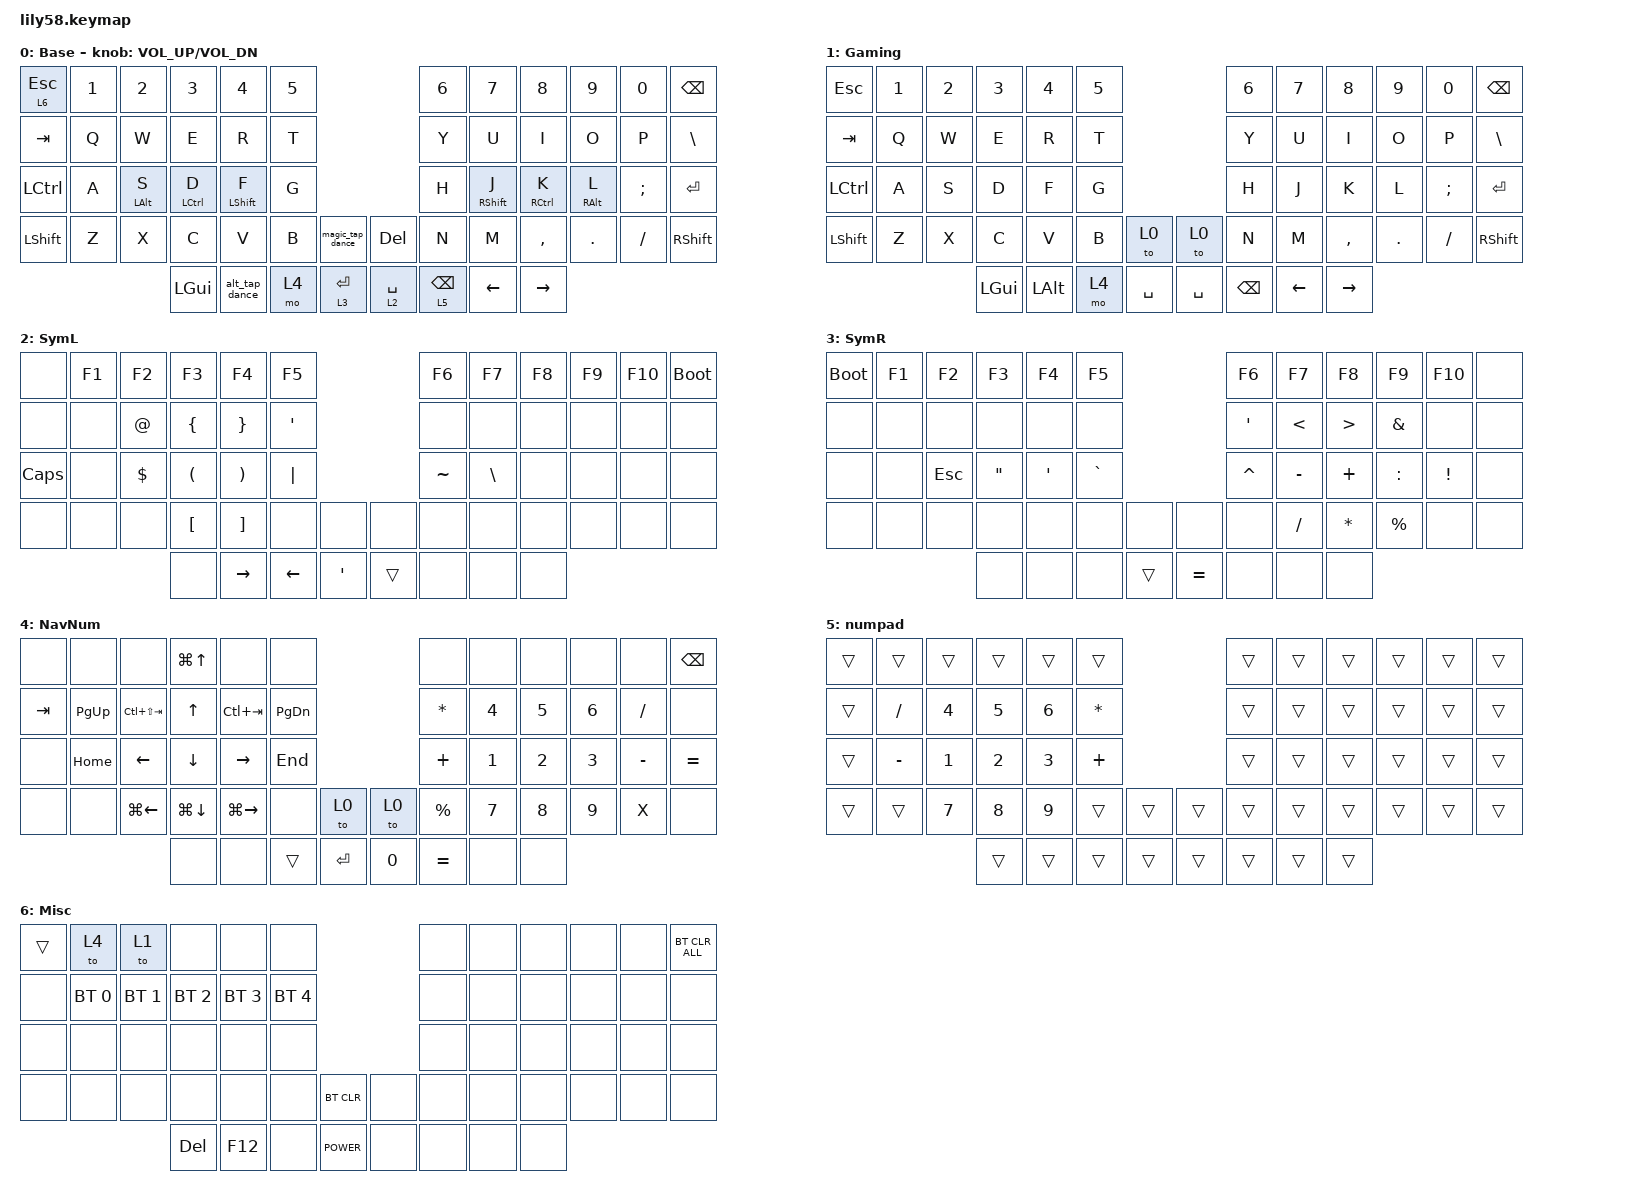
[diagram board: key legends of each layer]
/*
 * Copyright (c) 2020 The ZMK Contributors
 *
 * SPDX-License-Identifier: MIT
 */

#include <behaviors.dtsi>
#include <dt-bindings/zmk/bt.h>
#include <dt-bindings/zmk/keys.h>

/ {
    behaviors {
        home_row_layer_left: home_row_layer_left {
            compatible = "zmk,behavior-hold-tap";
            label = "HOME_ROW_LAYER_LEFT";
            bindings = <&mo>, <&kp>;

            #binding-cells = <2>;
            tapping-term-ms = <200>;
            hold-trigger-key-positions = <0 1 2 3 4 5 12 13 14 15 16 17 24 25 26 27 28 29 36 37 38 39 40 41 42 50 51 52 53 31 33 54 55 56 57 34 30>;
            flavor = "balanced";
        };

        home_row_layer_right: home_row_layer_right {
            compatible = "zmk,behavior-hold-tap";
            label = "HOME_ROW_LAYER_RIGHT";
            bindings = <&mo>, <&kp>;

            #binding-cells = <2>;
            tapping-term-ms = <200>;
            flavor = "balanced";
            hold-trigger-key-positions = <6 7 9 10 11 18 19 20 21 22 23 30 31 32 33 34 35 43 44 45 46 47 48 49 54 55 56 57 8 28 26 53 50 52 51 25 29>;
        };

        thumb_layer: thumb_layer {
            compatible = "zmk,behavior-hold-tap";
            label = "THUMB_LAYER";
            bindings = <&mo>, <&kp>;

            #binding-cells = <2>;
            tapping-term-ms = <200>;
            quick-tap-ms = <200>;
            flavor = "balanced";
        };

        magic_tap_dance: magic_tap_dance {
            compatible = "zmk,behavior-tap-dance";
            label = "MAGIC_TAP_DANCE";
            #binding-cells = <0>;
            tapping-term-ms = <200>;
            bindings = <&kp LS(LA(LC(F11)))>, <&kp LS(LA(LC(F12)))>;
        };

        home_row_mod_left: home_row_mod_left {
            compatible = "zmk,behavior-hold-tap";
            label = "HOME_ROW_MOD_LEFT";
            bindings = <&kp>, <&kp>;

            #binding-cells = <2>;
            tapping-term-ms = <200>;
            flavor = "balanced";
            hold-trigger-key-positions = <6 7 8 9 10 11 18 19 20 21 22 23 30 31 32 33 34 35 44 45 46 47 48 49 54 55 56 57 43 26 27 28>;
        };

        home_row_mod_right: home_row_mod_right {
            compatible = "zmk,behavior-hold-tap";
            label = "HOME_ROW_MOD_RIGHT";
            bindings = <&kp>, <&kp>;

            #binding-cells = <2>;
            tapping-term-ms = <200>;
            flavor = "balanced";
            hold-trigger-key-positions = <0 1 2 3 4 5 12 13 14 15 16 17 24 25 26 27 28 29 36 37 38 39 40 41 42 50 51 52 53 32 33 31>;
        };

        layer_mod: layer_mod {
            compatible = "zmk,behavior-hold-tap";
            label = "LAYER_MOD";
            bindings = <&mo>, <&kp>;

            #binding-cells = <2>;
            tapping-term-ms = <200>;
            flavor = "tap-preferred";
        };

        alt_tap_dance: alt_tap_dance {
            compatible = "zmk,behavior-tap-dance";
            label = "ALT_TAP_DANCE";
            #binding-cells = <0>;
            bindings = <&kp LEFT_ALT>, <&kp RIGHT_ALT>;
        };
    };

    combos {
        compatible = "zmk,combos";

        jk {
            bindings = <&kp BACKSLASH>;
            key-positions = <31 32>;
            layers = <0>;
        };

        df {
            bindings = <&kp TAB>;
            key-positions = <28 27>;
            layers = <0>;
        };

        kl {
            bindings = <&kp UNDER>;
            key-positions = <32 33>;
            layers = <0>;
        };

        sd {
            bindings = <&kp LS(LA(LC(F10)))>;
            key-positions = <26 27>;
            layers = <0>;
        };

        fj {
            bindings = <&kp SQT>;
            key-positions = <28 31>;
            layers = <0>;
        };

        hj {
            bindings = <&kp LS(LA(LC(F9)))>;
            key-positions = <30 31>;
            layers = <0>;
        };

        fg {
            bindings = <&kp ESCAPE>;
            key-positions = <29 28>;
            layers = <0>;
        };

        dk {
            bindings = <&kp DOUBLE_QUOTES>;
            key-positions = <27 32>;
        };
    };

    keymap {
        compatible = "zmk,keymap";

        default_layer {
            // ------------------------------------------------------------------------------------------------------------
            // |  ESC  |  1  |  2  |  3   |  4   |  5   |                   |  6   |  7    |  8    |  9   |   0   |   `   |
            // |  TAB  |  Q  |  W  |  E   |  R   |  T   |                   |  Y   |  U    |  I    |  O   |   P   |   -   |
            // |  CTRL |  A  |  S  |  D   |  F   |  G   |                   |  H   |  J    |  K    |  L   |   ;   |   '   |
            // | SHIFT |  Z  |  X  |  C   |  V   |  B   |   "["  |  |  "]"  |  N   |  M    |  ,    |  .   |   /   | SHIFT |
            //                     | ALT  | GUI  | LOWER|  SPACE |  | ENTER | RAISE| BSPC  | GUI   |

            display-name = "Base";
            bindings = <
&layer_mod 6 ESCAPE  &kp N1  &kp N2                         &kp N3                             &kp N4                           &kp N5                                                &kp N6                    &kp N7                             &kp N8                               &kp N9                           &kp N0    &kp BACKSPACE
&kp TAB              &kp Q   &kp W                          &kp E                              &kp R                            &kp T                                                 &kp Y                     &kp U                              &kp I                                &kp O                            &kp P     &kp BACKSLASH
&kp LCTRL            &kp A   &home_row_mod_left LEFT_ALT S  &home_row_mod_left LEFT_CONTROL D  &home_row_mod_left LEFT_SHIFT F  &kp G                                                 &kp H                     &home_row_mod_right RIGHT_SHIFT J  &home_row_mod_right RIGHT_CONTROL K  &home_row_mod_right RIGHT_ALT L  &kp SEMI  &kp ENTER
&kp LSHFT            &kp Z   &kp X                          &kp C                              &kp V                            &kp B   &magic_tap_dance        &kp DELETE            &kp N                     &kp M                              &kp COMMA                            &kp DOT                          &kp FSLH  &kp RSHFT
                                                            &kp LEFT_GUI                       &alt_tap_dance                   &mo 4   &thumb_layer 3 ENTER    &thumb_layer 2 SPACE  &thumb_layer 5 BACKSPACE  &kp LEFT_ARROW                     &kp RIGHT_ARROW
            >;

            sensor-bindings = <&inc_dec_kp C_VOL_UP C_VOL_DN>;
        };

        gaming {
            bindings = <
&kp ESC    &kp N1  &kp N2  &kp N3    &kp N4    &kp N5                          &kp N6    &kp N7          &kp N8           &kp N9   &kp N0    &kp BSPC
&kp TAB    &kp Q   &kp W   &kp E     &kp R     &kp T                           &kp Y     &kp U           &kp I            &kp O    &kp P     &kp BSLH
&kp LCTRL  &kp A   &kp S   &kp D     &kp F     &kp G                           &kp H     &kp J           &kp K            &kp L    &kp SEMI  &kp ENTER
&kp LSHFT  &kp Z   &kp X   &kp C     &kp V     &kp B   &to 0        &to 0      &kp N     &kp M           &kp COMMA        &kp DOT  &kp FSLH  &kp RSHFT
                           &kp LGUI  &kp LALT  &mo 4   &kp SPACE    &kp SPACE  &kp BSPC  &kp LEFT_ARROW  &kp RIGHT_ARROW
            >;

            label = "Gaming";
        };

        symbols_left {
            bindings = <
&none         &kp F1  &kp F2       &kp F3                &kp F4                 &kp F5                                        &kp F6     &kp F7         &kp F8  &kp F9  &kp F10  &bootloader
&none         &none   &kp AT_SIGN  &kp LEFT_BRACE        &kp RIGHT_BRACE        &kp SINGLE_QUOTE                              &none      &none          &none   &none   &none    &none
&kp CAPSLOCK  &none   &kp DOLLAR   &kp LEFT_PARENTHESIS  &kp RIGHT_PARENTHESIS  &kp PIPE                                      &kp TILDE  &kp BACKSLASH  &none   &none   &none    &none
&none         &none   &none        &kp LEFT_BRACKET      &kp RIGHT_BRACKET      &none             &none               &none   &none      &none          &none   &none   &none    &none
                                   &none                 &kp RIGHT              &kp LEFT_ARROW    &kp SINGLE_QUOTE    &trans  &none      &none          &none
            >;

            label = "SymL";
        };

        symbols_right {
            bindings = <
&bootloader  &kp F1  &kp F2      &kp F3             &kp F4            &kp F5                          &kp F6            &kp F7         &kp F8            &kp F9         &kp F10          &none
&none        &none   &none       &none              &none             &none                           &kp SINGLE_QUOTE  &kp LESS_THAN  &kp GREATER_THAN  &kp AMPERSAND  &none            &none
&none        &none   &kp ESCAPE  &kp DOUBLE_QUOTES  &kp SINGLE_QUOTE  &kp GRAVE                       &kp CARET         &kp MINUS      &kp PLUS          &kp COLON      &kp EXCLAMATION  &none
&none        &none   &none       &none              &none             &none      &none     &none      &none             &kp SLASH      &kp ASTERISK      &kp PERCENT    &none            &none
                                 &none              &none             &none      &trans    &kp EQUAL  &none             &none          &none
            >;

            label = "SymR";
        };

        navigation_numpad {
            bindings = <
&none    &none        &none               &kp LG(UP_ARROW)    &none          &none                               &none         &none         &none         &none         &none      &kp BACKSPACE
&kp TAB  &kp PAGE_UP  &kp LC(LS(TAB))     &kp UP_ARROW        &kp LC(TAB)    &kp PAGE_DOWN                       &kp ASTERISK  &kp NUMBER_4  &kp N5        &kp NUMBER_6  &kp SLASH  &none
&none    &kp HOME     &kp LEFT_ARROW      &kp DOWN            &kp RIGHT      &kp END                             &kp PLUS      &kp NUMBER_1  &kp NUMBER_2  &kp NUMBER_3  &kp MINUS  &kp EQUAL
&none    &none        &kp LG(LEFT_ARROW)  &kp LG(DOWN_ARROW)  &kp LG(RIGHT)  &none          &to 0        &to 0   &kp PERCENT   &kp N7        &kp N8        &kp N9        &kp X      &none
                                          &none               &none          &trans         &kp ENTER    &kp N0  &kp EQUAL     &none         &none
            >;

            label = "NavNum";
        };

        numpad {
            bindings = <
&trans  &trans     &trans        &trans        &trans        &trans                          &trans  &trans  &trans  &trans  &trans  &trans
&trans  &kp SLASH  &kp NUMBER_4  &kp N5        &kp NUMBER_6  &kp ASTERISK                    &trans  &trans  &trans  &trans  &trans  &trans
&trans  &kp MINUS  &kp NUMBER_1  &kp NUMBER_2  &kp NUMBER_3  &kp PLUS                        &trans  &trans  &trans  &trans  &trans  &trans
&trans  &trans     &kp N7        &kp N8        &kp N9        &trans        &trans    &trans  &trans  &trans  &trans  &trans  &trans  &trans
                                 &trans        &trans        &trans        &trans    &trans  &trans  &trans  &trans
            >;

            label = "numpad";
        };

        misc {
            bindings = <
&trans  &to 4         &to 1         &none         &none         &none                               &none  &none  &none  &none  &none  &bt BT_CLR_ALL
&none   &bt BT_SEL 0  &bt BT_SEL 1  &bt BT_SEL 2  &bt BT_SEL 3  &bt BT_SEL 4                        &none  &none  &none  &none  &none  &none
&none   &none         &none         &none         &none         &none                               &none  &none  &none  &none  &none  &none
&none   &none         &none         &none         &none         &none         &bt BT_CLR     &none  &none  &none  &none  &none  &none  &none
                                    &kp DELETE    &kp F12       &none         &kp C_POWER    &none  &none  &none  &none
            >;

            label = "Misc";
        };
    };
};
